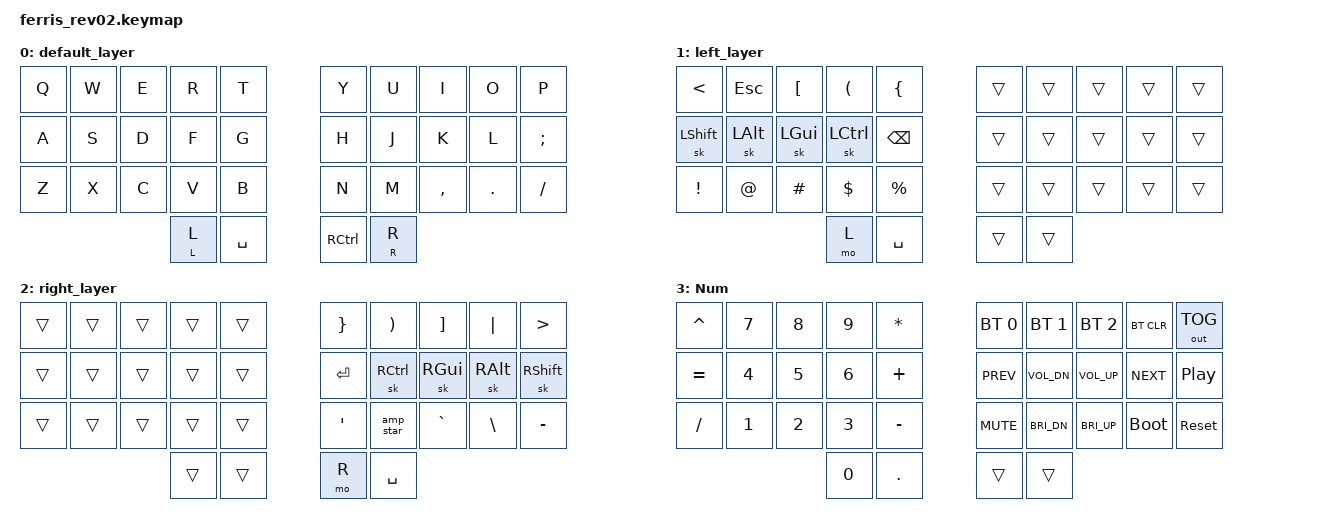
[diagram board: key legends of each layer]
/*
 * Copyright (c) 2020 The ZMK Contributors
 *
 * SPDX-License-Identifier: MIT
 */

#undef ZMK_BEHAVIORS_KEEP_ALL

#include <behaviors.dtsi>
#include <dt-bindings/zmk/keys.h>
#include <dt-bindings/zmk/bt.h>
#include <dt-bindings/zmk/outputs.h>

#define L   1
#define R   2
#define NUM 3

/ {
    behaviors {
        lt: layer_tap_chamber {
            compatible = "zmk,behavior-hold-tap";
            #binding-cells = <2>;
            flavor = "balanced";
            tapping-term-ms = <200>;
            bindings = <&mo>, <&sl>;   // hold -> momentary, tap -> sticky layer
        };
        amp_star: amp_star {
            compatible = "zmk,behavior-mod-morph";
            #binding-cells = <0>;
            bindings = <&kp AMPS>, <&kp STAR>;
            mods = <(MOD_LSFT|MOD_RSFT)>;
        };
    };

    conditional_layers {
        compatible = "zmk,conditional-layers";
        both_thumbs {
            if-layers = <L R>;
            then-layer = <NUM>;
        };
    };
    keymap {
        compatible = "zmk,keymap";
        default_layer {
            bindings = <
                &kp Q      &kp W      &kp E       &kp R          &kp T         &kp Y            &kp U          &kp I       &kp O      &kp P
                &kp A      &kp S      &kp D       &kp F          &kp G         &kp H            &kp J          &kp K       &kp L      &kp SEMI 
                &kp Z      &kp X      &kp C       &kp V          &kp B         &kp N            &kp M          &kp COMMA   &kp DOT    &kp FSLH
                &lt L L        &kp SPACE     &kp RCTRL         &lt R R
            >;
        };
        left_layer {
            bindings = <
                &kp LT     &kp ESC   &kp LBKT    &kp LPAR   &kp LBRC          &trans           &trans         &trans      &trans     &trans
                &sk LSHFT  &sk LALT   &sk LGUI    &sk LCTRL  &kp BSPC          &trans           &trans         &trans      &trans     &trans
                &kp EXCL  &kp AT   &kp HASH    &kp DLLR   &kp PRCNT         &trans           &trans         &trans      &trans     &trans
                &mo L   &kp SPACE         &trans           &trans
            >;
        };
        right_layer {
            bindings = < 
            &trans     &trans     &trans      &trans     &trans            &kp RBRC         &kp RPAR       &kp RBKT    &kp PIPE      &kp GT
            &trans     &trans     &trans      &trans     &trans            &kp RET          &sk RCTRL      &sk RGUI    &sk RALT      &sk RSHFT
            &trans     &trans     &trans      &trans     &trans            &kp SQT          &amp_star      &kp GRAVE     &kp BSLH  &kp MINUS
            &trans     &trans            &mo R        &kp SPACE
            >;
        };

        num_layer {
            display-name = "Num";
            bindings = <
                &kp CARET   &kp N7   &kp N8   &kp N9   &kp STAR       &bt BT_SEL 0  &bt BT_SEL 1  &bt BT_SEL 2  &bt BT_CLR   &out OUT_TOG
                &kp EQUAL   &kp N4   &kp N5   &kp N6   &kp PLUS       &kp C_PREV    &kp C_VOL_DN  &kp C_VOL_UP  &kp C_NEXT   &kp C_PP
                &kp FSLH    &kp N1   &kp N2   &kp N3   &kp MINUS      &kp C_MUTE    &kp C_BRI_DN  &kp C_BRI_UP  &bootloader  &sys_reset
                &kp N0   &kp DOT        &trans   &trans
            >;
        };  

    };
};
